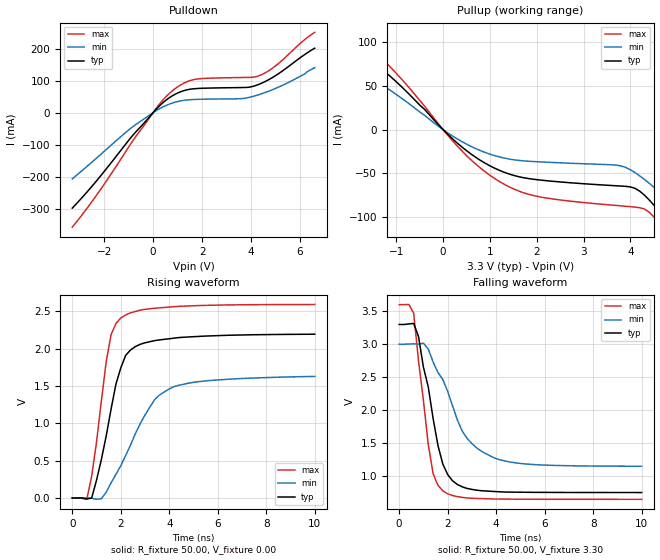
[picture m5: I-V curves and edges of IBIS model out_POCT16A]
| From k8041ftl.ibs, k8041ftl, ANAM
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|   Model out_POCT16A
[Model]   out_POCT16A
Model_type   Output
Polarity   Non-Inverting
Vmeas =  1.50V
C_comp   7.13e-12F   7.13e-12F   7.13e-12F
[Temperature Range]   25   125   0
[Voltage Range]   3.30V   3.00V   3.60V
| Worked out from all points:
|   slope of the pulldown table from 0 to 0.495 V, typ, clamps not added: 13.3 ohm
|   slope of the pullup table from 0 to 0.495 V, typ, clamps not added: 20.8 ohm
|   rising waveform, R_fixture 50.00, V_fixture 0.00: 20-80 % time 871ps typ, 1.55ns min, 638ps max; typ from 0 V to 2.19 V
|   falling waveform, R_fixture 50.00, V_fixture 3.30: 20-80 % time 804ps typ, 1.41ns min, 583ps max; typ from 3.3 V to 0.751 V
[Pullup]
| voltage   I(typ)   I(min)   I(max)
-3.3V     117.1mA    48.95mA    146.2mA
-3V       114.5mA    48.97mA    140.7mA
-2.7V     110.4mA    74.19mA    134.2mA
-2V       94.78mA    69.35mA    112.4mA
-1V       54.73mA    40.27mA    64.39mA
500mV     -23.98mA   -16.49mA   -29.63mA
1.5V      -52.11mA   -34.29mA   -67.56mA
3.8V      -64.42mA   -41.34mA   -87.07mA
4.2V      -70.23mA   -52.75mA   -89.13mA
5V        -121.2mA   -90.64mA   -138.8mA
5.5V      -164mA     -119.9mA   -191mA
6.6V      -326.4mA   -220.3mA   -410mA
[Pulldown]
| voltage   I(typ)   I(min)   I(max)
-3.3V     -298.2mA   -206.8mA   -357.7mA
-2.2V     -202.8mA   -134.5mA   -246mA
-800mV    -68.21mA   -42.26mA   -84.42mA
200mV     16.7mA     9.669mA    21.02mA
800mV     53.21mA    30.32mA    69.14mA
1.3V      69.72mA    38.85mA    93.7mA
1.7V      74.86mA    41.19mA    103.8mA
3.6V      78.4mA     43.72mA    109.8mA
4.4V      90.98mA    58.26mA    117.6mA
5V        115.7mA    75.72mA    146.2mA
6.1V      176.7mA    117.2mA    222.5mA
6.6V      201.4mA    140.6mA    250.9mA
[Ramp]
| variable   typ   min   max
dV/dt_r   0.21/7.26e-10   0.18/1.53e-09   0.23/5.55e-10
dV/dt_f   1.54/8.01e-10   1.12/1.42e-09   1.78/5.72e-10
R_load = 50.00
[Rising Waveform]
R_fixture = 50.00
V_fixture = 0.00
V_fixture_min = 0.00
V_fixture_max = 0.00
| time   V(typ)   V(min)   V(max)
0s        0V         0V         0V
600ps     -13.11mV   212.9uV    -18.08mV
1ns       238.4mV    -16.75mV   749.7mV
1.4ns     832.8mV    77.8mV     1.827V
1.6ns     1.191V     202.8mV    2.188V
2ns       1.742V     431.4mV    2.412V
2.4ns     1.983V     707.3mV    2.481V
3.4ns     2.109V     1.32V      2.542V
4.2ns     2.142V     1.493V     2.564V
10ns      2.194V     1.629V     2.593V
[Falling Waveform]
R_fixture = 50.00
V_fixture = 3.30
V_fixture_min = 3.00
V_fixture_max = 3.60
| time   V(typ)   V(min)   V(max)
0s        3.3V       3V         3.6V
600ps     3.315V     3.006V     3.469V
800ps     3.114V     3.001V     2.745V
1.2ns     2.353V     2.927V     1.482V
1.4ns     1.875V     2.731V     1.038V
1.8ns     1.184V     2.466V     777.4mV
2.2ns     930.4mV    2.068V     706.5mV
2.8ns     813.4mV    1.573V     669.1mV
4ns       765.6mV    1.264V     653.2mV
10ns      751.2mV    1.15V      648.4mV
